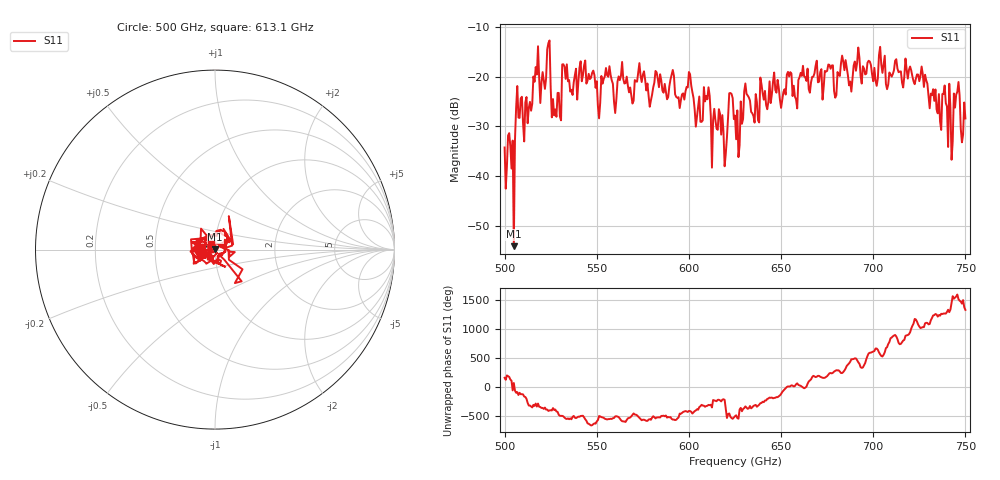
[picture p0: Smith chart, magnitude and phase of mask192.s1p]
!Created with skrf (http://scikit-rf.org).
# GHz S MA R 50.0
!freq magS11 angS11
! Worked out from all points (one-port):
!   401 points, 500 GHz to 750 GHz, reference 50 ohm
!   lowest |S11| = -54.0 dB at 505 GHz (marker M1), VSWR 1.00, Z = 50.1 + j0.177 ohm
!   |S11| at or under -10 dB: start of sweep to end of sweep
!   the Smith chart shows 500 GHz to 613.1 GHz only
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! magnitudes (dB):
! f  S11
! 500 GHz  -34.2
! 505 GHz  -54.0
! 507.5 GHz  -28.2
! 513.8 GHz  -25.1
! 516.9 GHz  -18.1
! 520.6 GHz  -19.1
! 523.8 GHz  -13.3
! 526.9 GHz  -27.8
! 531.2 GHz  -17.5
! 560 GHz  -27.3
! 562.5 GHz  -20.7
! 593.8 GHz  -24.2
! 609.4 GHz  -23.9
! 620 GHz  -35.4
! 622.5 GHz  -23.3
! 625 GHz  -27.8
! 656.2 GHz  -23.9
! 676.9 GHz  -18.4
! 680 GHz  -23.7
! 683.8 GHz  -17.0
! 687.5 GHz  -21.0
! 691.2 GHz  -17.2
! 718.8 GHz  -20.4
! 735.6 GHz  -23.5
! 738.8 GHz  -21.8
! 741.9 GHz  -26.2
! 745 GHz  -23.6
! 750 GHz  -28.4
